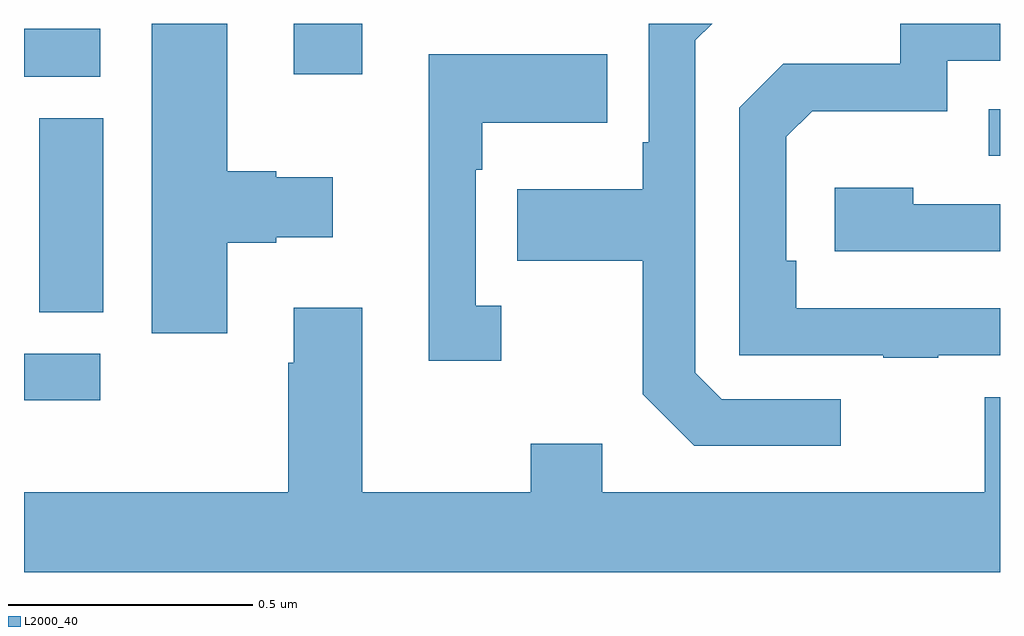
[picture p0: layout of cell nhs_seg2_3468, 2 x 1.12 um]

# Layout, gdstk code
import gdstk
lib = gdstk.Library(unit=1e-6, precision=1e-09)
def R(c, l, rs):  # rectangles x0, y0, x1, y1
    for r in rs: c.add(gdstk.rectangle(r[:2], r[2:], *l))
def P(c, l, *ps):  # polygons
    for p in ps: c.add(gdstk.Polygon(p, *l))
L2000_40 = (2000, 40)

nhs_seg2_3468 = lib.new_cell('nhs_seg2_3468')
R(nhs_seg2_3468, L2000_40, [(154,608.028,154.156,608.124), (154.031,608.209,154.162,608.606), (155.977,608.529,156,608.625), (154,608.691,154.156,608.79), (154.553,608.697,154.693,608.8)])
P(nhs_seg2_3468, L2000_40, [(155.873,608.121),(156,608.121),(156,608.217),(155.582,608.217),(155.582,608.314),(155.562,608.314),(155.562,608.568),(155.615,608.621),(155.892,608.621),(155.892,608.724),(156,608.724),(156,608.8),(155.796,608.8),(155.796,608.718),(155.556,608.718),(155.466,608.628),(155.466,608.121),(155.761,608.121),(155.761,608.116),(155.873,608.116)],
  [(154.417,608.351),(154.517,608.351),(154.517,608.363),(154.633,608.363),(154.633,608.485),(154.517,608.485),(154.517,608.498),(154.417,608.498),(154.417,608.8),(154.262,608.8),(154.262,608.166),(154.417,608.166)],
  [(155.674,608.031),(155.43,608.031),(155.376,608.085),(155.376,608.766),(155.41,608.8),(155.28,608.8),(155.28,608.557),(155.268,608.557),(155.268,608.461),(155.011,608.461),(155.011,608.314),(155.268,608.314),(155.268,608.041),(155.373,607.935),(155.674,607.935)],
  [(154.978,608.222),(154.926,608.222),(154.926,608.501),(154.939,608.501),(154.939,608.597),(155.195,608.597),(155.195,608.737),(154.829,608.737),(154.829,608.109),(154.978,608.109)],
  [(156,608.43),(155.822,608.43),(155.822,608.464),(155.661,608.464),(155.661,608.334),(156,608.334)],
  [(156,608.035),(155.969,608.035),(155.969,607.84),(155.185,607.84),(155.185,607.939),(155.038,607.939),(155.038,607.84),(154.693,607.84),(154.693,608.218),(154.553,608.218),(154.553,608.105),(154.541,608.105),(154.541,607.84),(154,607.84),(154,607.676),(156,607.676)])

lib.write_gds('nhs_seg2_3468.gds')
